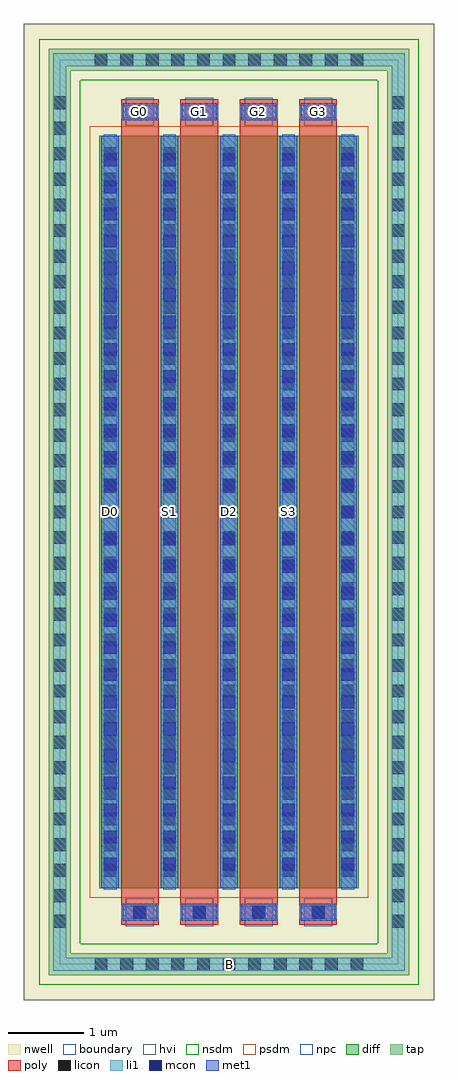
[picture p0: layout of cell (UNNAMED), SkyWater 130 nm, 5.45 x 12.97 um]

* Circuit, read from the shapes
.subckt (UNNAMED) B D0 D2 G0 G1 G2 G3 S1 S3
XM1 S1 G0 D0 B sky130_fd_pr__pfet_g5v0d10v5 w=10 l=0.5
XM2 D2 G1 S1 B sky130_fd_pr__pfet_g5v0d10v5 w=10 l=0.5
XM3 S3 G2 D2 B sky130_fd_pr__pfet_g5v0d10v5 w=10 l=0.5
XM4 n1 G3 S3 B sky130_fd_pr__pfet_g5v0d10v5 w=10 l=0.5
.ends

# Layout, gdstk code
import gdstk
lib = gdstk.Library(unit=1e-6, precision=1e-09)
def R(c, l, rs):  # rectangles x0, y0, x1, y1
    for r in rs: c.add(gdstk.rectangle(r[:2], r[2:], *l))
def A(c, l, x, y, w, h, nx, ny, dx, dy):  # array of equal rectangles
    R(c, l, [(x+i*dx, y+j*dy, x+i*dx+w, y+j*dy+h) for i in range(nx) for j in range(ny)])
nwell = (64, 20)
diff = (65, 20)
tap = (65, 44)
poly = (66, 20)
licon = (66, 44)
li1 = (67, 20)
mcon = (67, 44)
met1 = (68, 20)
hvi = (75, 20)
nsdm = (93, 44)
psdm = (94, 20)
npc = (95, 20)
boundary = (235, 4)

c__unnamed_ = lib.new_cell('(UNNAMED)')
R(c__unnamed_, nwell, [(-2.725,-6.485,2.725,6.485)])
R(c__unnamed_, diff, [(-1.725,-5,1.725,5)])
R(c__unnamed_, tap, [(-2.395,-6.155,2.395,-5.865), (-2.395,-5.865,-2.105,5.865), (2.105,-5.865,2.395,5.865), (-2.395,5.865,2.395,6.155)])
A(c__unnamed_, poly, -1.435, -5.485, 0.5, 10.97, 4, 1, 0.79, 0)
A(c__unnamed_, licon, -1.785, -6.095, 0.17, 0.17, 11, 2, 0.34, 12.02)
A(c__unnamed_, licon, -2.335, -5.525, 0.17, 0.17, 1, 33, 0, 0.34)
A(c__unnamed_, licon, 2.165, -5.525, 0.17, 0.17, 1, 33, 0, 0.34)
A(c__unnamed_, licon, -1.27, -5.405, 0.17, 0.17, 4, 2, 0.79, 10.64)
A(c__unnamed_, licon, -1.665, -4.845, 0.17, 0.17, 5, 29, 0.79, 0.34)
A(c__unnamed_, li1, -1.435, -5.405, 0.5, 0.17, 4, 2, 0.79, 10.64)
A(c__unnamed_, li1, -1.665, -5.02, 0.17, 10.04, 5, 1, 0.79, 0)
R(c__unnamed_, li1, [(-2.335,-6.095,2.335,-5.925), (-2.335,-5.925,-2.165,5.925), (2.165,-5.925,2.335,5.925), (-2.335,5.925,2.335,6.095)])
A(c__unnamed_, mcon, -1.27, -5.405, 0.17, 0.17, 4, 2, 0.79, 10.64)
A(c__unnamed_, mcon, -1.665, -4.765, 0.17, 0.17, 5, 27, 0.79, 0.36)
A(c__unnamed_, met1, -1.415, -5.435, 0.46, 0.23, 4, 2, 0.79, 10.64)
A(c__unnamed_, met1, -1.695, -5, 0.23, 10, 5, 1, 0.79, 0)
R(c__unnamed_, hvi, [(-2.725,-6.485,2.725,6.485)])
R(c__unnamed_, nsdm, [(-2.52,-6.28,2.52,-5.74), (-2.52,-5.74,-1.98,5.74), (1.98,-5.74,2.52,5.74), (-2.52,5.74,2.52,6.28)])
R(c__unnamed_, psdm, [(-1.85,-5.125,1.85,5.125)])
A(c__unnamed_, npc, -1.37, -5.505, 0.37, 0.37, 4, 2, 0.79, 10.64)
R(c__unnamed_, boundary, [(-2.25,-6.01,2.25,6.01)])
c__unnamed_.add(gdstk.Label('B', (0,-6.01), layer=67, texttype=5))
c__unnamed_.add(gdstk.Label('D0', (-1.58,0), layer=67, texttype=5))
c__unnamed_.add(gdstk.Label('G0', (-1.185,5.32), layer=67, texttype=5))
c__unnamed_.add(gdstk.Label('S1', (-0.79,0), layer=67, texttype=5))
c__unnamed_.add(gdstk.Label('G1', (-0.395,5.32), layer=67, texttype=5))
c__unnamed_.add(gdstk.Label('D2', (0,0), layer=67, texttype=5))
c__unnamed_.add(gdstk.Label('G2', (0.395,5.32), layer=67, texttype=5))
c__unnamed_.add(gdstk.Label('S3', (0.79,0), layer=67, texttype=5))
c__unnamed_.add(gdstk.Label('G3', (1.185,5.32), layer=67, texttype=5))

lib.write_gds('_UNNAMED_.gds')
